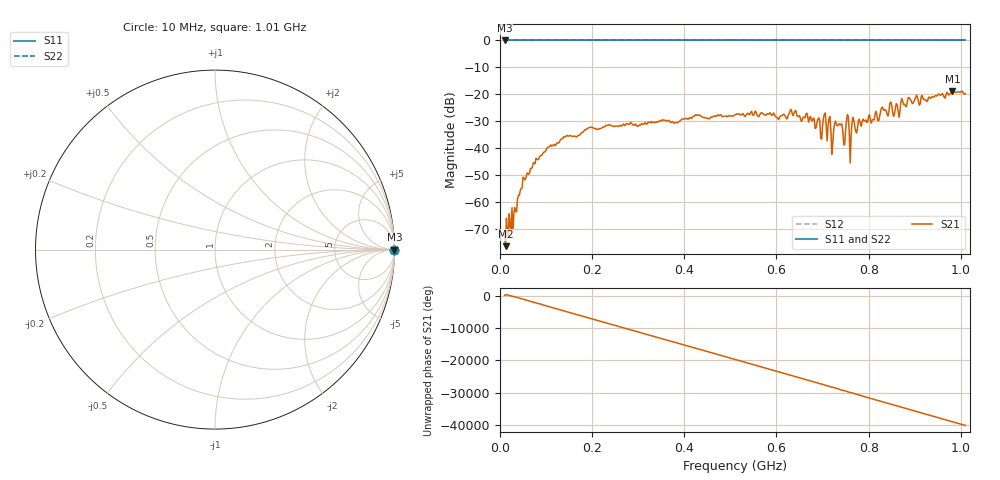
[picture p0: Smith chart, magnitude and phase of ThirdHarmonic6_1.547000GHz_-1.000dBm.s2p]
! 8/16/2025 6:21:35 PM
! C:\ANRITSUVNA\TEMP\TEMP.S2P
! CHANNEL.1
! TR.MEASUREMENT
! RAW.DATA
! RF.CORRECTION.OFF
! AVERAGING.OFF
! IF.BANDWIDTH: 5KHZ
! SWEEPTYPE:  FREQ.SWEEP(Linear)
! Reference Plane Port Info
! PORT:  PORT1  PORT2
! DISTANCE:  0  m  0  m
! TIME:  0  s  0  s
! PHASE.OFFSET:  0  deg.  0  deg.
! LOSS:  0  dB  0  dB
! REF.LOSS:  0  dB  0  dB
! REF.FREQ:  0  Hz  0  Hz
! Power Info
! POWER:  -20  dBm  -20  dBm
! EFF.POWER:  -20  dBm  -20  dBm
! SOURCE.ATTEN:  0  dB  0  dB
! TEST.ATTEN:  0  dB  0  dB
# GHZ S RI R 50.0
! FREQ.GHZ  S11RE  S11IM  S21RE  S21IM  S12RE  S12IM  S22RE  S22IM
!; PortSelection: Port_12
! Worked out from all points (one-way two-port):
!   501 points, 10 MHz to 1.01 GHz, reference 50 ohm
!   highest |S21| = -18.80 dB at 982 MHz (marker M1); lowest = -76.5 dB at 12 MHz (marker M2)
!   lowest |S11| = 0.0 dB at 10 MHz (marker M3)
!   |S11| at or under -10 dB: nowhere
!   |S22| runs from 0.0 to 0.0 dB; largest |S21 - S12| = 1.1
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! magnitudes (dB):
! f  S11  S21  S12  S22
! 10 MHz  0.0  -71.9  0.0  0.0
! 12 MHz  0.0  -76.5  0.0  0.0
! 32 MHz  0.0  -62.2  0.0  0.0
! 54 MHz  0.0  -51.8  0.0  0.0
! 76 MHz  0.0  -45.8  0.0  0.0
! 142 MHz  0.0  -35.9  0.0  0.0
! 178 MHz  0.0  -34.2  0.0  0.0
! 344 MHz  0.0  -30.1  0.0  0.0
! 510 MHz  0.0  -27.6  0.0  0.0
! 630 MHz  0.0  -26.0  0.0  0.0
! 678 MHz  0.0  -29.9  0.0  0.0
! 696 MHz  0.0  -36.4  0.0  0.0
! 704 MHz  0.0  -27.4  0.0  0.0
! 722 MHz  0.0  -38.6  0.0  0.0
! 730 MHz  0.0  -31.2  0.0  0.0
! 746 MHz  0.0  -38.8  0.0  0.0
! 754 MHz  0.0  -27.5  0.0  0.0
! 762 MHz  0.0  -35.3  0.0  0.0
! 768 MHz  0.0  -29.8  0.0  0.0
! 844 MHz  0.0  -26.3  0.0  0.0
! 982 MHz  0.0  -18.8  0.0  0.0
! 1.01 GHz  0.0  -19.8  0.0  0.0
